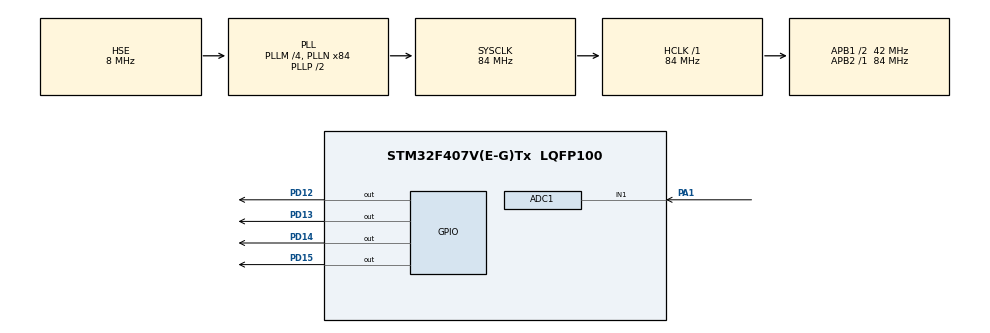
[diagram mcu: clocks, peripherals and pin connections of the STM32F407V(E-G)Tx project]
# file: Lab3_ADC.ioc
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ADC1.Channel-2\#ChannelRegularConversion=ADC_CHANNEL_1
ADC1.DataAlign=ADC_DATAALIGN_RIGHT
ADC1.EnableAnalogWatchDog=false
ADC1.NbrOfConversion=1
ADC1.NbrOfConversionFlag=1
ADC1.Rank-2\#ChannelRegularConversion=1
ADC1.Resolution=ADC_RESOLUTION_12B
ADC1.SamplingTime-2\#ChannelRegularConversion=ADC_SAMPLETIME_3CYCLES
ADC1.master=1
Mcu.Family=STM32F4
Mcu.Name=STM32F407V(E-G)Tx
Mcu.Package=LQFP100
NVIC.PriorityGroup=NVIC_PRIORITYGROUP_4
PA1.Signal=ADCx_IN1
PD12.Signal=GPIO_Output
PD13.Signal=GPIO_Output
PD14.Signal=GPIO_Output
PD15.Signal=GPIO_Output
PH0-OSC_IN.Mode=HSE-External-Oscillator
PH0-OSC_IN.Signal=RCC_OSC_IN
PH1-OSC_OUT.Mode=HSE-External-Oscillator
PH1-OSC_OUT.Signal=RCC_OSC_OUT
ProjectManager.HeapSize=0x200
ProjectManager.StackSize=0x400
ProjectManager.TargetToolchain=STM32CubeIDE
RCC.48MHZClocksFreq_Value=42000000
RCC.AHBFreq_Value=84000000
RCC.APB1CLKDivider=RCC_HCLK_DIV2
RCC.APB1Freq_Value=42000000
RCC.APB1TimFreq_Value=84000000
RCC.APB2Freq_Value=84000000
RCC.APB2TimFreq_Value=84000000
RCC.CortexFreq_Value=84000000
RCC.HCLKFreq_Value=84000000
RCC.HSE_VALUE=8000000
RCC.HSI_VALUE=16000000
RCC.LSE_VALUE=32768
RCC.PLLM=4
RCC.PLLN=84
RCC.PLLSourceVirtual=RCC_PLLSOURCE_HSE
RCC.SYSCLKFreq_VALUE=84000000
RCC.SYSCLKSource=RCC_SYSCLKSOURCE_PLLCLK
RCC.VCOOutputFreq_Value=168000000
SH.ADCx_IN1.0=ADC1_IN1,IN1
board=custom

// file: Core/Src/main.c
/* USER CODE BEGIN Header */
/**
  ******************************************************************************
  * @file           : main.c
  * @brief          : Main program body
  ******************************************************************************
  * @attention
  *
  * Copyright (c) 2024 STMicroelectronics.
  * All rights reserved.
  *
  * This software is licensed under terms that can be found in the LICENSE file
  * in the root directory of this software component.
  * If no LICENSE file comes with this software, it is provided AS-IS.
  *
  ******************************************************************************
  */
/* USER CODE END Header */
#include "main.h"
#include "adc.h"
#include "gpio.h"

void SystemClock_Config(void);

/* USER CODE BEGIN 0 */
short int abc_value=0;
/* USER CODE END 0 */

int main(void)
{

  /* MCU Configuration--------------------------------------------------------*/

  /* Reset of all peripherals, Initializes the Flash interface and the Systick. */
  HAL_Init();

  /* Configure the system clock */
  SystemClock_Config();

  /* Initialize all configured peripherals */
  MX_GPIO_Init();
  MX_ADC1_Init();

  /* Infinite loop */
  /* USER CODE BEGIN WHILE */
  while (1)
  {

		if (HAL_ADC_Start(&hadc1) != HAL_OK)
		  {
		    Error_Handler();
		  }
		if (HAL_ADC_PollForConversion(&hadc1,1) != HAL_OK)
				  {
				    Error_Handler();
				  }
		if (HAL_ADC_Stop(&hadc1) != HAL_OK)
						  {
						    Error_Handler();
						  }

		abc_value=(short int )HAL_ADC_GetValue(&hadc1);

		// Déterminer les seuils pour les LEDs
		        if (abc_value > 4000)
		        {
		        	// Allumer toutes les LEDs
		        	HAL_GPIO_WritePin(GPIOD, GPIO_PIN_12 | GPIO_PIN_13 | GPIO_PIN_14 | GPIO_PIN_15, GPIO_PIN_SET);

		        }
		        else if (abc_value > 3000)
		        {
		        	 // Allumer LED12, LED13 et LED14
		        	 HAL_GPIO_WritePin(GPIOD, GPIO_PIN_12 | GPIO_PIN_13 | GPIO_PIN_14, GPIO_PIN_SET);
		        	 HAL_GPIO_WritePin(GPIOD, GPIO_PIN_15, GPIO_PIN_RESET);

		        }
		        else if (abc_value > 2000)
		        {
		        	// Allumer LED12 et LED13
		        	HAL_GPIO_WritePin(GPIOD, GPIO_PIN_12 | GPIO_PIN_13, GPIO_PIN_SET);
		        	HAL_GPIO_WritePin(GPIOD, GPIO_PIN_14 | GPIO_PIN_15, GPIO_PIN_RESET);
		        }
		        else
		        {
		        	// Allumer LED12
		        	HAL_GPIO_WritePin(GPIOD, GPIO_PIN_12, GPIO_PIN_SET);
		        	HAL_GPIO_WritePin(GPIOD, GPIO_PIN_15 | GPIO_PIN_13 | GPIO_PIN_14, GPIO_PIN_RESET);
		        }

    /* USER CODE END WHILE */

  }
}

void SystemClock_Config(void)
{
  RCC_OscInitTypeDef RCC_OscInitStruct = {0};
  RCC_ClkInitTypeDef RCC_ClkInitStruct = {0};

  /** Configure the main internal regulator output voltage
  */
  __HAL_RCC_PWR_CLK_ENABLE();
  __HAL_PWR_VOLTAGESCALING_CONFIG(PWR_REGULATOR_VOLTAGE_SCALE1);

  /** Initializes the RCC Oscillators according to the specified parameters
  * in the RCC_OscInitTypeDef structure.
  */
  RCC_OscInitStruct.OscillatorType = RCC_OSCILLATORTYPE_HSE;
  RCC_OscInitStruct.HSEState = RCC_HSE_ON;
  RCC_OscInitStruct.PLL.PLLState = RCC_PLL_ON;
  RCC_OscInitStruct.PLL.PLLSource = RCC_PLLSOURCE_HSE;
  RCC_OscInitStruct.PLL.PLLM = 4;
  RCC_OscInitStruct.PLL.PLLN = 84;
  RCC_OscInitStruct.PLL.PLLP = RCC_PLLP_DIV2;
  RCC_OscInitStruct.PLL.PLLQ = 4;
  if (HAL_RCC_OscConfig(&RCC_OscInitStruct) != HAL_OK)
  {
    Error_Handler();
  }

  /** Initializes the CPU, AHB and APB buses clocks
  */
  RCC_ClkInitStruct.ClockType = RCC_CLOCKTYPE_HCLK|RCC_CLOCKTYPE_SYSCLK
                              |RCC_CLOCKTYPE_PCLK1|RCC_CLOCKTYPE_PCLK2;
  RCC_ClkInitStruct.SYSCLKSource = RCC_SYSCLKSOURCE_PLLCLK;
  RCC_ClkInitStruct.AHBCLKDivider = RCC_SYSCLK_DIV1;
  RCC_ClkInitStruct.APB1CLKDivider = RCC_HCLK_DIV2;
  RCC_ClkInitStruct.APB2CLKDivider = RCC_HCLK_DIV1;

  if (HAL_RCC_ClockConfig(&RCC_ClkInitStruct, FLASH_LATENCY_2) != HAL_OK)
  {
    Error_Handler();
  }
}

/* USER CODE BEGIN 4 */
// Callback appelée à la fin de la conversion ADC

/* USER CODE END 4 */

void Error_Handler(void)
{
  __disable_irq();
  while (1)
  {
  }
}
